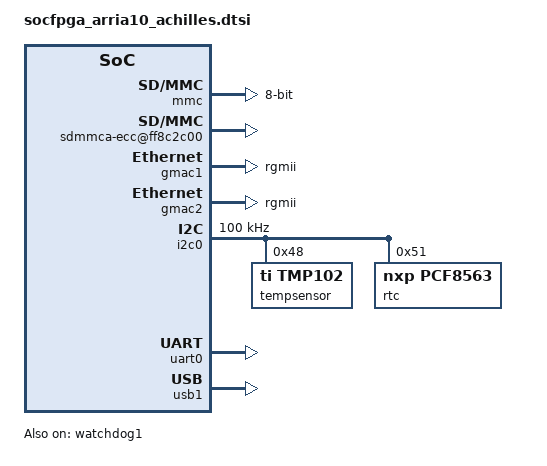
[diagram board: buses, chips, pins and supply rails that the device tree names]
/*
 * Copyright (C) 2021 REFLEX CES <www.reflexces.com>
 *
 * This program is free software; you can redistribute it and/or modify
 * it under the terms of the GNU General Public License as published by
 * the Free Software Foundation; either version 2 of the License, or
 * (at your option) any later version.
 *
 * This program is distributed in the hope that it will be useful,
 * but WITHOUT ANY WARRANTY; without even the implied warranty of
 * MERCHANTABILITY or FITNESS FOR A PARTICULAR PURPOSE.  See the
 * GNU General Public License for more details.
 *
 * You should have received a copy of the GNU General Public License
 * along with this program.  If not, see <http://www.gnu.org/licenses/>.
 */

#include "socfpga_arria10.dtsi"
#include "socfpga_arria10_achilles-u-boot.dtsi"

/ {
	compatible = "altr,socfpga-arria10", "altr,socfpga";
	chassis-type = "embedded";

	aliases {
		ethernet0 = &gmac1;
		ethernet1 = &gmac2;
		serial0 = &uart0;
	};

	chosen {
		bootargs = "earlyprintk";
		stdout-path = "serial0:115200n8";
	};

	soc {
		clkmgr@ffd04000 {
			clocks {
				osc1 {
					clock-frequency = <25000000>;
				};
			};
		};
	};
};

&mmc {
	status = "okay";
	cap-sd-highspeed;
	cap-mmc-highspeed;
	broken-cd;
	bus-width = <8>;
};

&eccmgr {
	sdmmca-ecc@ff8c2c00 {
		compatible = "altr,socfpga-sdmmc-ecc";
		reg = <0xff8c2c00 0x400>;
		altr,ecc-parent = <&mmc>;
		interrupts = <15 IRQ_TYPE_LEVEL_HIGH>,
				     <47 IRQ_TYPE_LEVEL_HIGH>,
				     <16 IRQ_TYPE_LEVEL_HIGH>,
				     <48 IRQ_TYPE_LEVEL_HIGH>;
	};
};

&gmac1 {
	phy-mode = "rgmii";
	phy-addr = <0xffffffff>; /* probe for phy addr */

	/*
	 * These skews assume the user's FPGA design is adding 600ps of delay
	 * for TX_CLK on Arria 10.
	 *
	 * All skews are offset since hardware skew values for the ksz9031
	 * range from a negative skew to a positive skew.
	 * See the micrel-ksz90x1.txt Documentation file for details.
	 */
	txd0-skew-ps = <0>; /* -420ps */
	txd1-skew-ps = <0>; /* -420ps */
	txd2-skew-ps = <0>; /* -420ps */
	txd3-skew-ps = <0>; /* -420ps */
	rxd0-skew-ps = <420>; /* 0ps */
	rxd1-skew-ps = <420>; /* 0ps */
	rxd2-skew-ps = <420>; /* 0ps */
	rxd3-skew-ps = <420>; /* 0ps */
	txen-skew-ps = <0>; /* -420ps */
	txc-skew-ps = <1860>; /* 960ps */
	rxdv-skew-ps = <420>; /* 0ps */
	rxc-skew-ps = <1680>; /* 780ps */
	max-frame-size = <3800>;
	status = "okay";
};

&gmac2 {
	phy-mode = "rgmii";
	phy-addr = <0xffffffff>; /* probe for phy addr */

	/*
	 * These skews assume the user's FPGA design is adding 600ps of delay
	 * for TX_CLK on Arria 10.
	 *
	 * All skews are offset since hardware skew values for the ksz9031
	 * range from a negative skew to a positive skew.
	 * See the micrel-ksz90x1.txt Documentation file for details.
	 */
	txd0-skew-ps = <0>; /* -420ps */
	txd1-skew-ps = <0>; /* -420ps */
	txd2-skew-ps = <0>; /* -420ps */
	txd3-skew-ps = <0>; /* -420ps */
	rxd0-skew-ps = <420>; /* 0ps */
	rxd1-skew-ps = <420>; /* 0ps */
	rxd2-skew-ps = <420>; /* 0ps */
	rxd3-skew-ps = <420>; /* 0ps */
	txen-skew-ps = <0>; /* -420ps */
	txc-skew-ps = <1860>; /* 960ps */
	rxdv-skew-ps = <420>; /* 0ps */
	rxc-skew-ps = <1680>; /* 780ps */
	max-frame-size = <3800>;
	status = "okay";
};

&gpio2 {
	status = "okay";
};

&i2c0 {
	status = "okay";

	speed-mode = <0>;
	clock-frequency = <100000>;
	i2c-sda-falling-time-ns = <500>;
	i2c-scl-falling-time-ns = <500>;

	tempsensor@48 {
		compatible = "ti,tmp102";
		reg = <0x48>;
	};

	rtc@51 {
		compatible = "nxp,pcf8563";
		reg = <0x51>;
	};
};

&uart0 {
	status = "okay";
};

&usb1 {
	status = "okay";
	disable-over-current;
};

&watchdog1 {
	status = "okay";
};
